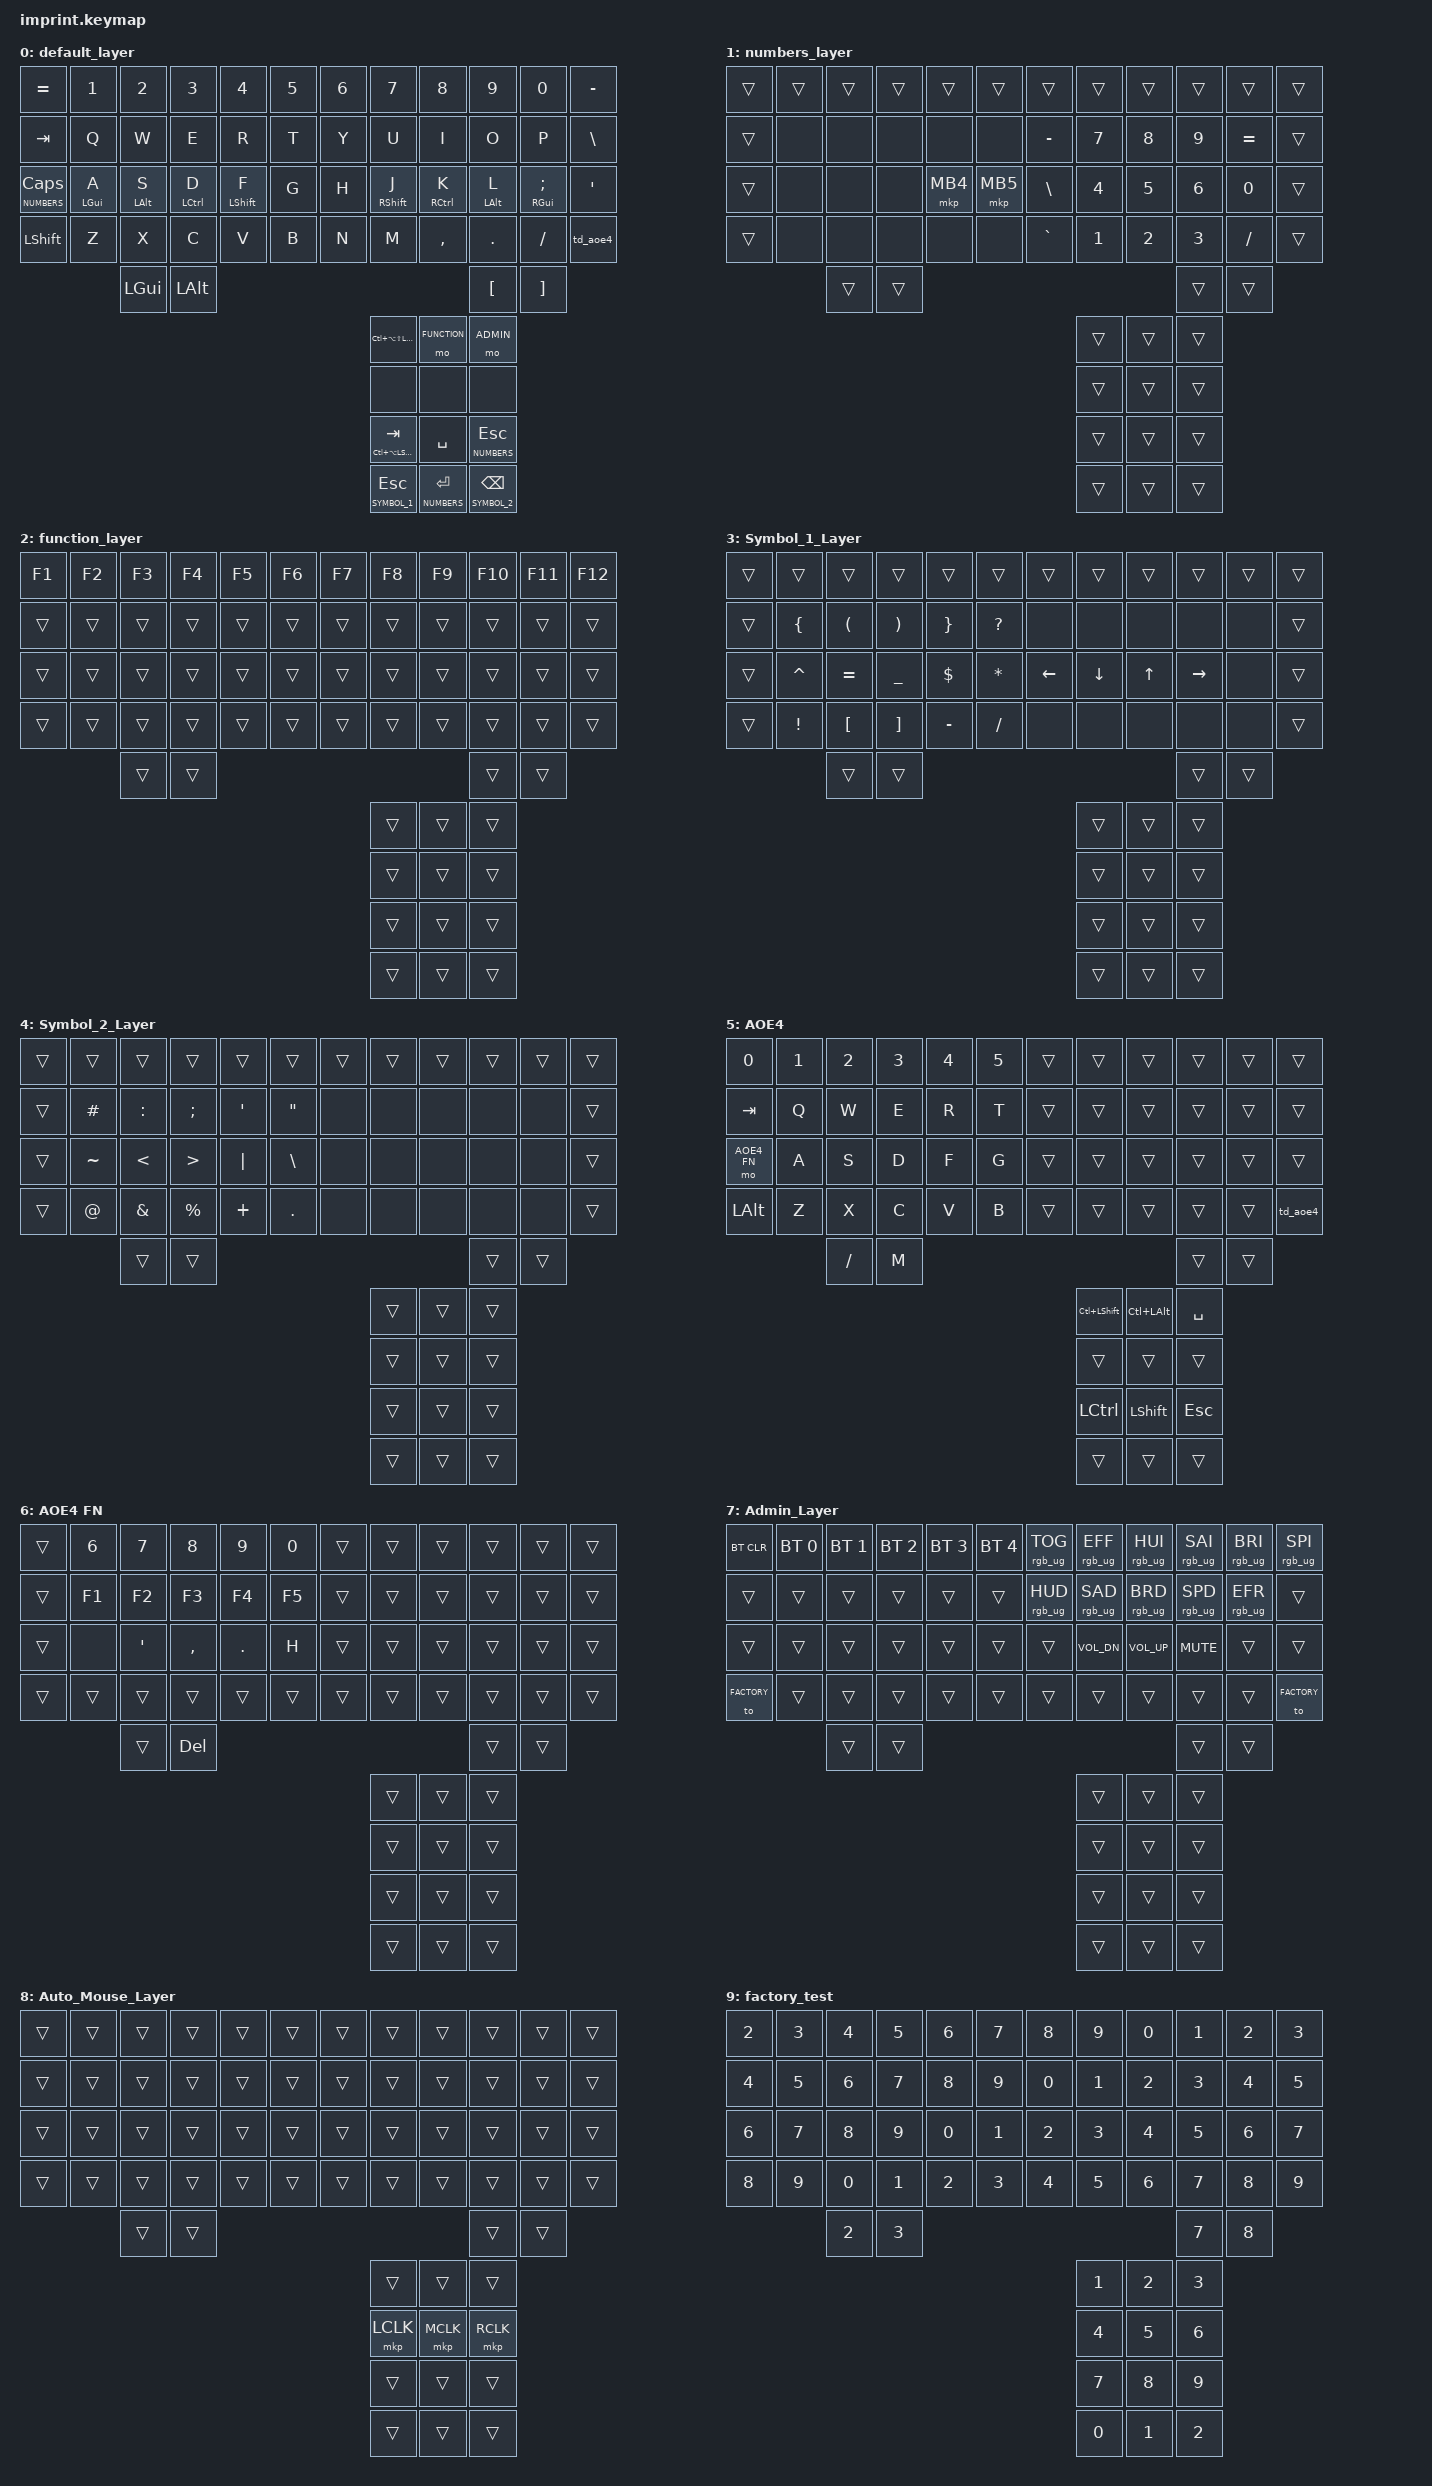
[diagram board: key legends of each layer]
#include <input/processors.dtsi>
#include <dt-bindings/zmk/input_transform.h>
#include <behaviors.dtsi>
#include <dt-bindings/zmk/bt.h>
#include <dt-bindings/zmk/keys.h>
#include <dt-bindings/zmk/pointing.h>
#include <dt-bindings/zmk/rgb.h>

// Layer indices MUST match the order the layer nodes appear in the keymap
// node below (first child = 0, second = 1, ...). ZMK assigns indices by
// position, not by name, so inserting a layer node without renumbering here
// silently repoints every &mo/&lt/&tog/&zip_temp_layer at the wrong layer.
// Current node order: base, numbers, function, symbol_1, symbol_2, aoe4,
// aoe4_fn, admin, auto_mouse, factory.
#define BASE 0
#define NUMBERS 1
#define FUNCTION 2
#define SYMBOL_1 3
#define SYMBOL_2 4
#define AOE4 5
#define AOE4_FN 6
#define ADMIN 7
#define AUTO_MOUSE 8
#define FACTORY 9

/ {
    chosen { zmk,physical-layout = &physical_layout_imprint_number_row; };

    behaviors {
        hm: homerow_mods {
            compatible = "zmk,behavior-hold-tap";
            #binding-cells = <2>;
            tapping-term-ms = <200>;
            quick-tap-ms = <50>;
            flavor = "tap-preferred";
            bindings = <&kp>, <&kp>;
        };

        td_aoe4: tap_dance_aoe4 {
            compatible = "zmk,behavior-tap-dance";
            #binding-cells = <0>;
            tapping-term-ms = <300>;
            bindings = <&none>, <&layer_toggle_flash AOE4>;
        };
    };

    macros {
        layer_toggle_flash: layer_toggle_flash {
            compatible = "zmk,behavior-macro-one-param";
            #binding-cells = <1>;
            wait-ms = <0>;
            tap-ms = <0>;
            bindings =
                /*
                 * Do the actual layer toggle first, with the macro's own
                 * parameter forwarded in as the layer to toggle, so the
                 * flash never delays it.
                 */
                <&macro_param_1to1>, <&tog 0>,
                /*
                 * Flash by inverting the underglow for 250ms, then inverting
                 * back. RGB_TOG is relative, so this restores whatever the
                 * previous on/off state was without needing to read it: off
                 * blinks bright, on blinks dark. Colour, effect, brightness
                 * and saturation are never touched.
                 */
                <&macro_wait_time 250>,
                <&rgb_ug RGB_TOG>,
                <&macro_wait_time 0>,
                <&rgb_ug RGB_TOG>;
        };
    };

    keymap {
        compatible = "zmk,keymap";

        default_layer {
            bindings = <
&kp EQUAL  &kp N1        &kp N2        &kp N3        &kp N4        &kp N5       &kp N6        &kp N7         &kp N8       &kp N9       &kp N0        &kp MINUS
&kp TAB    &kp Q         &kp W         &kp E         &kp R         &kp T        &kp Y         &kp U          &kp I        &kp O        &kp P         &kp BSLH
&lt NUMBERS CAPS  &hm LGUI A    &hm LALT S    &hm LCTRL D   &hm LSHFT F   &kp G        &kp H         &hm RSHFT J    &hm RCTRL K  &hm LALT L   &hm RGUI SEMI &kp SQT
&kp LSHFT  &kp Z         &kp X         &kp C         &kp V         &kp B        &kp N         &kp M          &kp COMMA    &kp DOT      &kp FSLH      &td_aoe4
                      &kp LGUI      &kp LALT                                                           &kp LBKT      &kp RBKT
                                                  /* upper-left */  &kp LC(LA(LS(LGUI)))  &mo FUNCTION  &mo ADMIN
                                                  /* upper-right */ &none  &none  &none
                                                  /* lower-left */  &mt LC(LA(LSHFT)) TAB  &kp SPACE &lt NUMBERS ESC
                                                  /* lower-right */ &lt SYMBOL_1 ESC &lt NUMBERS RET &lt SYMBOL_2 BSPC
            >;
        };

        numbers_layer {
            bindings = <
&trans  &trans      &trans  &trans  &trans  &trans          &trans     &trans    &trans    &trans    &trans     &trans
&trans  &none       &none   &none   &none   &none           &kp MINUS  &kp N7    &kp N8    &kp N9    &kp EQUAL  &trans
&trans  &none       &none   &none   &mkp MB4 &mkp MB5        &kp BSLH   &kp N4    &kp N5    &kp N6    &kp N0     &trans
&trans  &none       &none   &none   &none   &none           &kp GRAVE  &kp N1    &kp N2    &kp N3    &kp FSLH   &trans
                 &trans   &trans                                                            &trans  &trans
                                                  /* upper-left */  &trans  &trans  &trans
                                                  /* upper-right */ &trans  &trans  &trans
                                                  /* lower-left */  &trans  &trans  &trans
                                                  /* lower-right */ &trans  &trans  &trans
            >;
        };

        function_layer {
            bindings = <
&kp F1   &kp F2   &kp F3   &kp F4   &kp F5   &kp F6         &kp F7   &kp F8   &kp F9   &kp F10  &kp F11  &kp F12
&trans   &trans   &trans   &trans   &trans   &trans         &trans   &trans   &trans   &trans   &trans   &trans
&trans   &trans   &trans   &trans   &trans   &trans         &trans   &trans   &trans   &trans   &trans   &trans
&trans   &trans   &trans   &trans   &trans   &trans         &trans   &trans   &trans   &trans   &trans   &trans
                 &trans   &trans                                                            &trans  &trans
                                                  /* upper-left */  &trans  &trans  &trans
                                                  /* upper-right */ &trans  &trans  &trans
                                                  /* lower-left */  &trans  &trans  &trans
                                                  /* lower-right */ &trans  &trans  &trans
            >;
        };

        Symbol_1_Layer {
            bindings = <
&trans     &trans     &trans     &trans      &trans     &trans            &trans     &trans        &trans        &trans      &trans    &trans
&trans     &kp LBRC   &kp LPAR   &kp RPAR    &kp RBRC   &kp QMARK         &none      &none         &none         &none       &none     &trans
&trans     &kp CARET  &kp EQUAL  &kp UNDER   &kp DLLR   &kp STAR          &kp LEFT   &kp DOWN      &kp UP        &kp RIGHT   &none     &trans
&trans     &kp EXCL   &kp LBKT   &kp RBKT    &kp MINUS  &kp FSLH          &none      &none         &none         &none       &none     &trans
                 &trans   &trans                                                            &trans  &trans
                                                  /* upper-left */  &trans  &trans  &trans
                                                  /* upper-right */ &trans  &trans  &trans
                                                  /* lower-left */  &trans  &trans  &trans
                                                  /* lower-right */ &trans  &trans  &trans
            >;
        };

        Symbol_2_Layer {
            bindings = <
&trans     &trans      &trans      &trans     &trans     &trans          &trans      &trans      &trans      &trans      &trans      &trans
&trans     &kp HASH    &kp COLON   &kp SEMI   &kp SQT    &kp DQT         &none       &none       &none       &none       &none       &trans
&trans     &kp TILDE   &kp LT      &kp GT     &kp PIPE   &kp BSLH        &none       &none       &none       &none       &none       &trans
&trans     &kp AT      &kp AMPS    &kp PRCNT  &kp PLUS   &kp DOT         &none       &none       &none       &none       &none       &trans
                 &trans   &trans                                                            &trans  &trans
                                                  /* upper-left */  &trans  &trans  &trans
                                                  /* upper-right */ &trans  &trans  &trans
                                                  /* lower-left */  &trans  &trans  &trans
                                                  /* lower-right */ &trans  &trans  &trans
            >;
        };

        aoe4_layer {
            display-name = "AOE4";
            bindings = <
&kp N0      &kp N1   &kp N2   &kp N3   &kp N4   &kp N5         &trans  &trans   &trans      &trans    &trans    &trans
&kp TAB    &kp Q    &kp W    &kp E    &kp R    &kp T          &trans  &trans   &trans      &trans    &trans    &trans
&mo AOE4_FN      &kp A    &kp S    &kp D    &kp F    &kp G          &trans  &trans   &trans      &trans    &trans    &trans
&kp LALT    &kp Z    &kp X    &kp C    &kp V    &kp B          &trans  &trans   &trans      &trans    &trans    &td_aoe4
                 &kp FSLH  &kp M                                                              &trans  &trans
                                                  /* upper-left */  &kp LC(LSHFT)  &kp LC(LALT)  &kp SPACE
                                                  /* upper-right */ &trans  &trans  &trans
                                                  /* lower-left */  &kp LCTRL  &kp LSHFT  &kp ESC
                                                  /* lower-right */ &trans  &trans  &trans
            >;
        };

        aoe4_fn_layer {
            display-name = "AOE4 FN";
            bindings = <
&trans  &kp N6   &kp N7      &kp N8    &kp N9   &kp N0      &trans  &trans  &trans  &trans  &trans  &trans
&trans  &kp F1   &kp F2      &kp F3    &kp F4   &kp F5      &trans  &trans  &trans  &trans  &trans  &trans
&trans  &none    &kp SQT     &kp COMMA &kp DOT  &kp H       &trans  &trans  &trans  &trans  &trans  &trans
&trans  &trans   &trans      &trans    &trans   &trans      &trans  &trans  &trans  &trans  &trans  &trans
                 &trans   &kp DEL                                                            &trans  &trans
                                                  /* upper-left */  &trans  &trans  &trans
                                                  /* upper-right */ &trans  &trans  &trans
                                                  /* lower-left */  &trans  &trans  &trans
                                                  /* lower-right */ &trans  &trans  &trans
            >;
        };

        Admin_Layer {
            bindings = <
&bt BT_CLR   &bt BT_SEL 0  &bt BT_SEL 1  &bt BT_SEL 2  &bt BT_SEL 3  &bt BT_SEL 4  &rgb_ug RGB_TOG &rgb_ug RGB_EFF  &rgb_ug RGB_HUI  &rgb_ug RGB_SAI  &rgb_ug RGB_BRI  &rgb_ug RGB_SPI
&trans       &trans        &trans        &trans        &trans        &trans         &rgb_ug RGB_HUD &rgb_ug RGB_SAD  &rgb_ug RGB_BRD  &rgb_ug RGB_SPD  &rgb_ug RGB_EFR  &trans
&trans       &trans        &trans        &trans        &trans        &trans         &trans          &kp K_VOL_DN     &kp K_VOL_UP     &kp K_MUTE       &trans           &trans
&to FACTORY  &trans        &trans        &trans        &trans        &trans         &trans          &trans           &trans           &trans           &trans           &to FACTORY
                 &trans   &trans                                                            &trans  &trans
                                                  /* upper-left */  &trans  &trans  &trans
                                                  /* upper-right */ &trans  &trans  &trans
                                                  /* lower-left */  &trans  &trans  &trans
                                                  /* lower-right */ &trans  &trans  &trans
            >;
        };

        Auto_Mouse_Layer {
            bindings = <
&trans  &trans  &trans     &trans     &trans     &trans         &trans  &trans  &trans  &trans  &trans  &trans
&trans  &trans  &trans     &trans     &trans     &trans         &trans  &trans  &trans  &trans  &trans  &trans
&trans  &trans  &trans     &trans     &trans     &trans         &trans  &trans  &trans  &trans  &trans  &trans
&trans  &trans  &trans     &trans     &trans     &trans         &trans  &trans  &trans  &trans  &trans  &trans
                 &trans   &trans                                                            &trans  &trans
                                                  /* upper-left */  &trans  &trans  &trans
                                                  /* upper-right */ &mkp LCLK  &mkp MCLK  &mkp RCLK
                                                  /* lower-left */  &trans  &trans  &trans
                                                  /* lower-right */ &trans  &trans  &trans
            >;
        };

        factory_test {
            bindings = <
&kp N2  &kp N3  &kp N4  &kp N5  &kp N6  &kp N7         &kp N8  &kp N9  &kp N0  &kp N1  &kp N2  &kp N3
&kp N4  &kp N5  &kp N6  &kp N7  &kp N8  &kp N9         &kp N0  &kp N1  &kp N2  &kp N3  &kp N4  &kp N5
&kp N6  &kp N7  &kp N8  &kp N9  &kp N0  &kp N1         &kp N2  &kp N3  &kp N4  &kp N5  &kp N6  &kp N7
&kp N8  &kp N9  &kp N0  &kp N1  &kp N2  &kp N3         &kp N4  &kp N5  &kp N6  &kp N7  &kp N8  &kp N9
                 &kp N2   &kp N3                                                            &kp N7  &kp N8
                                                  /* upper-left */  &kp N1  &kp N2  &kp N3
                                                  /* upper-right */ &kp N4  &kp N5  &kp N6
                                                  /* lower-left */  &kp N7  &kp N8  &kp N9
                                                  /* lower-right */ &kp N0  &kp N1  &kp N2
            >;
        };
    };
};

&trackball_peripheral_listener {
    input-processors =
        <&zip_temp_layer AUTO_MOUSE 500>;
};

&trackball_central_listener {
    input-processors =
        <&zip_xy_scaler 1 12>,
        <&zip_xy_to_scroll_mapper>,
        <&zip_scroll_transform INPUT_TRANSFORM_Y_INVERT>;
};
